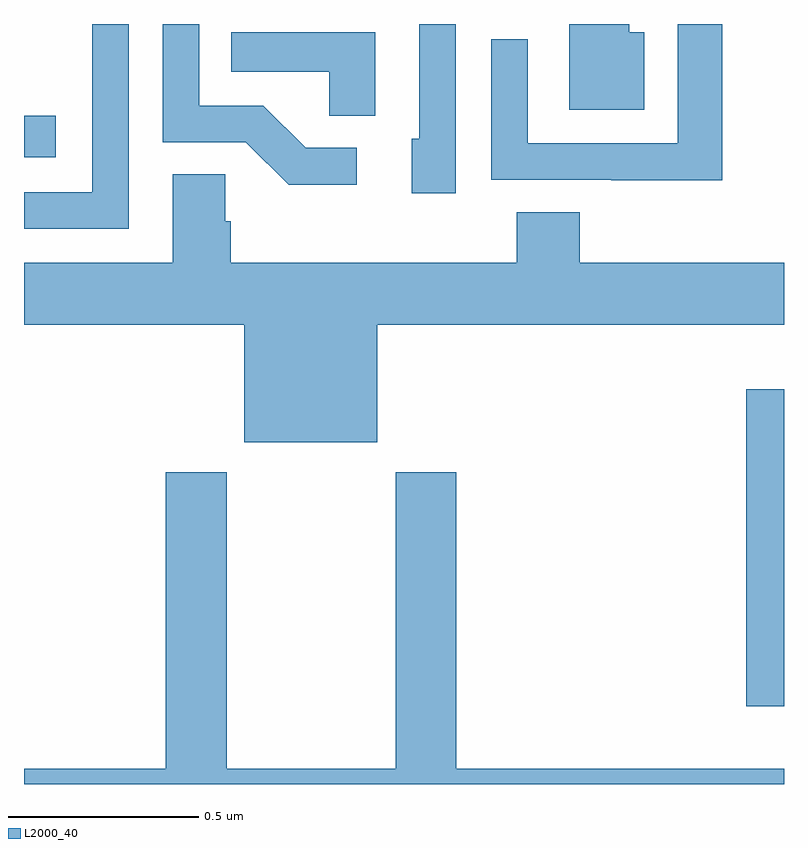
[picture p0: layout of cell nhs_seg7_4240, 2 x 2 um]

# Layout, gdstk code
import gdstk
lib = gdstk.Library(unit=1e-6, precision=1e-09)
def R(c, l, rs):  # rectangles x0, y0, x1, y1
    for r in rs: c.add(gdstk.rectangle(r[:2], r[2:], *l))
def P(c, l, *ps):  # polygons
    for p in ps: c.add(gdstk.Polygon(p, *l))
L2000_40 = (2000, 40)

nhs_seg7_4240 = lib.new_cell('nhs_seg7_4240')
R(nhs_seg7_4240, L2000_40, [(170.9,1074.204,171,1075.039), (169,1075.649,169.084,1075.759)])
P(nhs_seg7_4240, L2000_40, [(170.632,1075.978),(170.593,1075.978),(170.593,1076),(170.435,1076),(170.435,1075.775),(170.632,1075.775)],
  [(169.876,1075.674),(169.741,1075.674),(169.63,1075.785),(169.461,1075.785),(169.461,1076),(169.365,1076),(169.365,1075.689),(169.584,1075.689),(169.697,1075.577),(169.876,1075.577)],
  [(170.837,1076),(170.721,1076),(170.721,1075.686),(170.325,1075.686),(170.325,1075.96),(170.229,1075.96),(170.229,1075.59),(170.545,1075.59),(170.545,1075.589),(170.837,1075.589)],
  [(169.275,1076),(169.179,1076),(169.179,1075.557),(169,1075.557),(169,1075.461),(169.275,1075.461)],
  [(170.136,1076),(170.04,1076),(170.04,1075.698),(170.021,1075.698),(170.021,1075.554),(170.136,1075.554)],
  [(169.924,1075.978),(169.546,1075.978),(169.546,1075.874),(169.803,1075.874),(169.803,1075.759),(169.924,1075.759)],
  [(169.93,1075.208),(171,1075.208),(171,1075.372),(170.462,1075.372),(170.462,1075.505),(170.297,1075.505),(170.297,1075.372),(169.544,1075.372),(169.544,1075.481),(169.53,1075.481),(169.53,1075.604),(169.391,1075.604),(169.391,1075.372),(169,1075.372),(169,1075.208),(169.58,1075.208),(169.58,1074.899),(169.93,1074.899)],
  [(171,1074.04),(170.138,1074.04),(170.138,1074.82),(169.978,1074.82),(169.978,1074.04),(169.533,1074.04),(169.533,1074.82),(169.373,1074.82),(169.373,1074.04),(169,1074.04),(169,1074),(171,1074)])

lib.write_gds('nhs_seg7_4240.gds')
